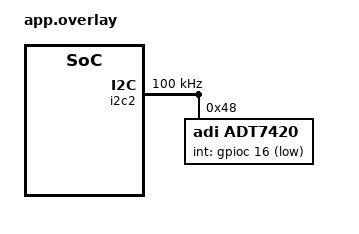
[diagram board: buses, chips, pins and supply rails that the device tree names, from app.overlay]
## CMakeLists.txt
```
# SPDX-License-Identifier: Apache-2.0

cmake_minimum_required(VERSION 3.20.0)
find_package(Zephyr REQUIRED HINTS $ENV{ZEPHYR_BASE})
project(lorawan_with_adt7410)

target_sources(app PRIVATE src/main.c)
```

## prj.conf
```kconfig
CONFIG_SENSOR=y
CONFIG_SENSOR_ASYNC_API=y
CONFIG_LOG=y
CONFIG_LOG_PRINTK=y
CONFIG_I2C=y

CONFIG_LOG=y
CONFIG_LORA=y
CONFIG_LORAWAN=y
CONFIG_LORAMAC_REGION_EU868=y
CONFIG_MAIN_STACK_SIZE=2048
CONFIG_SYSTEM_WORKQUEUE_STACK_SIZE=2048

CONFIG_STDOUT_CONSOLE=y
CONFIG_CBPRINTF_FP_SUPPORT=y
```

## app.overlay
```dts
&i2c2 {
	status = "okay";
	clock-frequency = <I2C_BITRATE_STANDARD>;
	adt7420@48 {
		compatible = "adi,adt7420";
		reg = <0x48>;
		int-gpios = <&gpioc 16 GPIO_ACTIVE_LOW>;
	};
};
```

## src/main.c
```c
/*
 * Nucleo-WL55JC1 + ADT7420 (I2C) + LoRaWAN (ABP)
 * Sends RAW BINARY payload (2 bytes): Temperature 
 * Decoding happens on the server (ChirpStack payload formatter)
 */

#include <zephyr/kernel.h>
#include <zephyr/device.h>
#include <zephyr/drivers/sensor.h>
#include <zephyr/lorawan/lorawan.h>
#include <zephyr/logging/log.h>
#include <stdio.h>

LOG_MODULE_REGISTER(app, LOG_LEVEL_INF);

#define DEV_ADDR   0x260111BB
#define NWK_SKEY   { 0xE3,0xDC,0x88,0x4F,0xCA,0x46,0x42,0x23,0xA1,0xE8,0xAC,0x43,0x1D,0xEE,0xD3,0xD0 }
#define APP_SKEY   { 0xE2,0x8B,0x71,0xA6,0x75,0xBA,0x23,0x6A,0x5F,0xB8,0xAD,0xF6,0xF6,0x70,0xCF,0x77 }

#define UPLINK_PORT    2
#define UPLINK_PERIOD  K_SECONDS(60)

static int apply_single_channel_mask(void) {
    static uint16_t mask[1] = { 0x0001 };
    int ret = lorawan_set_channels_mask(mask, ARRAY_SIZE(mask));
    if (ret) {
        LOG_ERR("lorawan_set_channels_mask failed: %d", ret);
    } else {
        LOG_INF("Channel mask applied: only CH0 (868.1 MHz)");
    }
    return ret;
}


static void dl_callback(uint8_t port, uint8_t flags, int16_t rssi, int8_t snr,
                        uint8_t len, const uint8_t *hex_data)
{
    LOG_INF("DL port=%u pend=%u RSSI=%d SNR=%d timeupd=%u len=%u",
            port, !!(flags & LORAWAN_DATA_PENDING), rssi, snr,
            !!(flags & LORAWAN_TIME_UPDATED), len);
    if (hex_data) {
        LOG_HEXDUMP_INF(hex_data, len, "Downlink payload:");
    }
}

/* RAW payload packing - 2 bytes little-endian: Temperature */
static size_t encode_payload(uint8_t *buf, int16_t temp_x100)
{
    buf[0] = (uint8_t)(temp_x100 & 0xFF);
    buf[1] = (uint8_t)((temp_x100 >> 8) & 0xFF);
    return 2;
}

int main(void)
{
    const struct device *lora_dev;
    const struct device *sensor_dev;
    int ret;

    /* LoRaWAN */
    lora_dev = DEVICE_DT_GET(DT_ALIAS(lora0));
    if (!device_is_ready(lora_dev)) {
        LOG_ERR("%s: device not ready.", lora_dev->name);
        return 0;
    }

#if defined(CONFIG_LORAMAC_REGION_EU868)
    ret = lorawan_set_region(LORAWAN_REGION_EU868);
    if (ret < 0) {
        LOG_ERR("lorawan_set_region failed: %d", ret);
        return 0;
    }
#endif

    ret = lorawan_start();
    if (ret < 0) {
        LOG_ERR("lorawan_start failed: %d", ret);
        return 0;
    }

    apply_single_channel_mask();

    lorawan_enable_adr(false);
    ret = lorawan_set_datarate(LORAWAN_DR_5);
    if (ret < 0) {
        LOG_ERR("lorawan_set_datarate failed: %d", ret);
        return 0;
    }

    struct lorawan_downlink_cb downlink_cb = {
        .port = LW_RECV_PORT_ANY,
        .cb = dl_callback
    };
    lorawan_register_downlink_callback(&downlink_cb);

    uint8_t nwk_skey[] = NWK_SKEY;
    uint8_t app_skey[] = APP_SKEY;
    uint32_t dev_addr = DEV_ADDR;

    struct lorawan_join_config join_cfg = {
        .mode = LORAWAN_ACT_ABP,
        .abp = {
            .dev_addr = dev_addr,
            .nwk_skey = nwk_skey,
            .app_skey = app_skey,
        }
    };

    ret = lorawan_join(&join_cfg);
    if (ret < 0) {
        LOG_ERR("lorawan_join failed: %d", ret);
        return 0;
    }

    LOG_INF("LoRaWAN ready.");

    /* Sensor */
    sensor_dev = DEVICE_DT_GET_ONE(adi_adt7420);
    if (!device_is_ready(sensor_dev)) {
        LOG_ERR("ADT7420: device not ready.");
        return 0;
    }

    LOG_INF("Sensor ready.");


    /* Main */
    while (1) {
        struct sensor_value temp_val;
        
        /* Read temperature from sensor */
        ret = sensor_sample_fetch(sensor_dev);
        if (ret) {
            LOG_ERR("sensor_sample_fetch failed: %d", ret);
            k_sleep(K_SECONDS(5));
            continue;
        }

        ret = sensor_channel_get(sensor_dev, SENSOR_CHAN_AMBIENT_TEMP, &temp_val);
        if (ret) {
            LOG_ERR("sensor_channel_get failed: %d", ret);
            k_sleep(K_SECONDS(5));
            continue;
        }

        /* Convert to 0.01°C units for transmission */
        int32_t temp_x100 = (int32_t)(temp_val.val1 * 100) + (temp_val.val2 / 10000);
        
        if (temp_x100 > INT16_MAX) temp_x100 = INT16_MAX;
        if (temp_x100 < INT16_MIN) temp_x100 = INT16_MIN;

        /* Local logging */
        LOG_INF("Temperature: %d.%02d C", temp_x100 / 100, temp_x100 % 100);

        /* raw binary payload */
        uint8_t payload[2];
        size_t len = encode_payload(payload, (int16_t)temp_x100);

        /* Send raw binary payload */
        ret = lorawan_send(UPLINK_PORT, payload, len, LORAWAN_MSG_UNCONFIRMED);
        if (ret == -EAGAIN) {
            LOG_WRN("lorawan_send -EAGAIN; will retry next period");
        } else if (ret < 0) {
            LOG_ERR("lorawan_send failed: %d", ret);
        } else {
            LOG_INF("Uplink sent");
        }

        k_sleep(UPLINK_PERIOD);
    }

    return 0;
}
```
